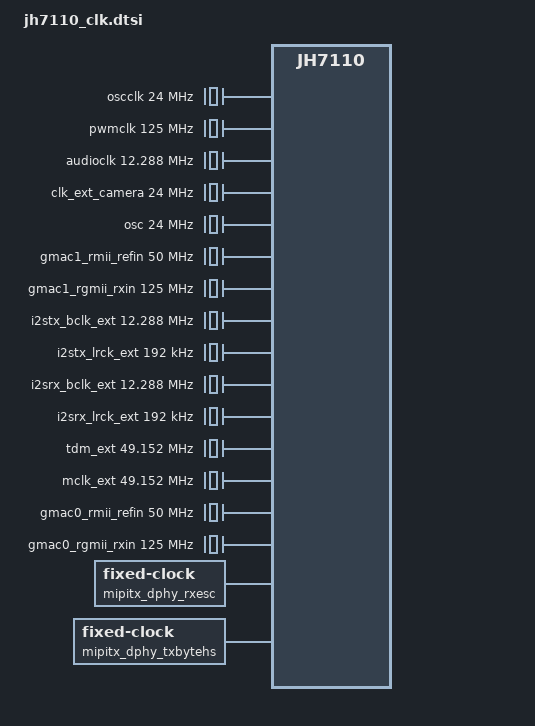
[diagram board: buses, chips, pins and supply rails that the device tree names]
// SPDX-License-Identifier: GPL-2.0 OR MIT
/*
 * Copyright (C) 2022 StarFive Technology Co., Ltd.
 */

/ {
	oscclk: oscclk {
		compatible = "fixed-clock";
		#clock-cells = <0>;
		clock-frequency = <24000000>;
		clock-output-names = "oscclk";
	};

	pll0clk: pll0clk {
		compatible = "fixed-clock";
		#clock-cells = <0>;
		clock-frequency = <1000000000>;
		clock-output-names = "pll0clk";
	};

	pll1clk: pll1clk {
		compatible = "fixed-clock";
		#clock-cells = <0>;
		clock-frequency = <1066000000>;
		clock-output-names = "pll1clk";
	};

	pll2clk: pll2clk {
		compatible = "fixed-clock";
		#clock-cells = <0>;
		clock-frequency = <1228800000>;
		clock-output-names = "pll2clk";
	};

	rtcclk: rtcclk {
		compatible = "fixed-clock";
		#clock-cells = <0>;
		clock-frequency = <4000000>;
		clock-output-names = "rtcclk";
	};

	rtc_hmsclk: rtc_hmsclk {
		compatible = "fixed-clock";
		#clock-cells = <0>;
		clock-frequency = <32768>;
	};

	perh_rootclk: perh_rootclk {
		compatible = "fixed-clock";
		#clock-cells = <0>;
		clock-frequency = <500000000>;
	};

	ahb0clk: ahb0clk {
		compatible = "fixed-clock";
		#clock-cells = <0>;
		clock-frequency = <204800000>;
	};

	ahb1clk: ahb1clk {
		compatible = "fixed-clock";
		#clock-cells = <0>;
		clock-frequency = <204800000>;
	};

	apb0clk: apb0clk {
		compatible = "fixed-clock";
		#clock-cells = <0>;
		clock-frequency = <512000000>;
	};

	apb2clk: apb2clk {
		compatible = "fixed-clock";
		#clock-cells = <0>;
		clock-frequency = <49500000>;
	};

	apb12clk: apb12clk {
		compatible = "fixed-clock";
		#clock-cells = <0>;
		clock-frequency = <49500000>;
	};

	gmac_bus_clk: gmac_bus_clk {
		compatible = "fixed-clock";
		#clock-cells = <0>;
		clock-frequency = <4000000>;
	};

	gmac_rxtx_clk: gmac_rxtx_clk {
		compatible = "fixed-clock";
		#clock-cells = <0>;
		clock-frequency = <2500000>;
	};

	gmac_ptp_clk: gmac_ptp_clk {
		compatible = "fixed-clock";
		#clock-cells = <0>;
		clock-frequency = <2500000>;
	};

	qspi_clk: qspi-clk@0 {
		compatible = "fixed-clock";
		#clock-cells = <0>;
		clock-frequency = <50000000>;
	};

	dwmmc_biuclk: dwmmc_biuclk {
		compatible = "fixed-clock";
		#clock-cells = <0>;
		clock-frequency = <4000000>;
	};

	dwmmc_ciuclk: dwmmc_ciuclk {
		compatible = "fixed-clock";
		#clock-cells = <0>;
		clock-frequency = <4000000>;
	};

	gpu_core_clk: gpu_core_clk {
		compatible = "fixed-clock";
		#clock-cells = <0>;
		clock-frequency = <24000000>;
	};

	gpu_sys_clk: gpu_sys_clk {
		compatible = "fixed-clock";
		#clock-cells = <0>;
		clock-frequency = <24000000>;
	};

	pwmclk: pwmclk {
		compatible = "fixed-clock";
		#clock-cells = <0>;
		clock-frequency = <125000000>;
	};

	audioclk: audioclk {
		compatible = "fixed-clock";
		#clock-cells = <0>;
		clock-frequency = <12288000>;
	};

	clk_ext_camera: clk-ext-camera {
		compatible = "fixed-clock";
		#clock-cells = <0>;
		clock-frequency = <24000000>;
	};

	canclk: canclk {
		compatible = "fixed-clock";
		#clock-cells = <0>;
		clock-frequency = <24000000>;
	};

	/* clock tree external clocks */
	osc: osc {
		compatible = "fixed-clock";
		#clock-cells = <0>;
		clock-frequency = <24000000>;
	};

	gmac1_rmii_refin: gmac1_rmii_refin {
		compatible = "fixed-clock";
		#clock-cells = <0>;
		clock-frequency = <50000000>;
	};

	gmac1_rgmii_rxin: gmac1_rgmii_rxin {
		compatible = "fixed-clock";
		#clock-cells = <0>;
		clock-frequency = <125000000>;
	};

	i2stx_bclk_ext: i2stx_bclk_ext {
		compatible = "fixed-clock";
		#clock-cells = <0>;
		clock-frequency = <12288000>;
	};

	i2stx_lrck_ext: i2stx_lrck_ext {
		compatible = "fixed-clock";
		#clock-cells = <0>;
		clock-frequency = <192000>;
	};

	i2srx_bclk_ext: i2srx_bclk_ext {
		compatible = "fixed-clock";
		#clock-cells = <0>;
		clock-frequency = <12288000>;
	};

	i2srx_lrck_ext: i2srx_lrck_ext {
		compatible = "fixed-clock";
		#clock-cells = <0>;
		clock-frequency = <192000>;
	};

	tdm_ext: tdm_ext {
		compatible = "fixed-clock";
		#clock-cells = <0>;
		clock-frequency = <49152000>;
	};

	mclk_ext: mclk_ext {
		compatible = "fixed-clock";
		#clock-cells = <0>;
		clock-frequency = <49152000>;
	};

	jtag_tck_inner: jtag_tck_inner {
		compatible = "fixed-clock";
		#clock-cells = <0>;
		clock-frequency = <50000000>;
	};

	bist_apb: bist_apb {
		compatible = "fixed-clock";
		#clock-cells = <0>;
		clock-frequency = <50000000>;
	};

	stg_apb: stg_apb {
		compatible = "fixed-clock";
		#clock-cells = <0>;
		clock-frequency = <51200000>;
	};

	gmac0_rmii_refin: gmac0_rmii_refin {
		compatible = "fixed-clock";
		#clock-cells = <0>;
		clock-frequency = <50000000>;
	};

	gmac0_rgmii_rxin: gmac0_rgmii_rxin {
		compatible = "fixed-clock";
		#clock-cells = <0>;
		clock-frequency = <125000000>;
	};

	clk_rtc: clk_rtc {
		compatible = "fixed-clock";
		#clock-cells = <0>;
		clock-frequency = <32768>;
	};

	hdmitx0_pixelclk: hdmitx0_pixelclk {
		compatible = "fixed-clock";
		#clock-cells = <0>;
		clock-frequency = <297000000>;
	};

	mipitx_dphy_rxesc: mipitx_dphy_rxesc {
		compatible = "fixed-clock";
		#clock-cells = <0>;
		clock-frequency = <10000000>;
	};

	mipitx_dphy_txbytehs: mipitx_dphy_txbytehs {
		compatible = "fixed-clock";
		#clock-cells = <0>;
		clock-frequency = <297000000>;
	};

	/* external clocks end */
};
